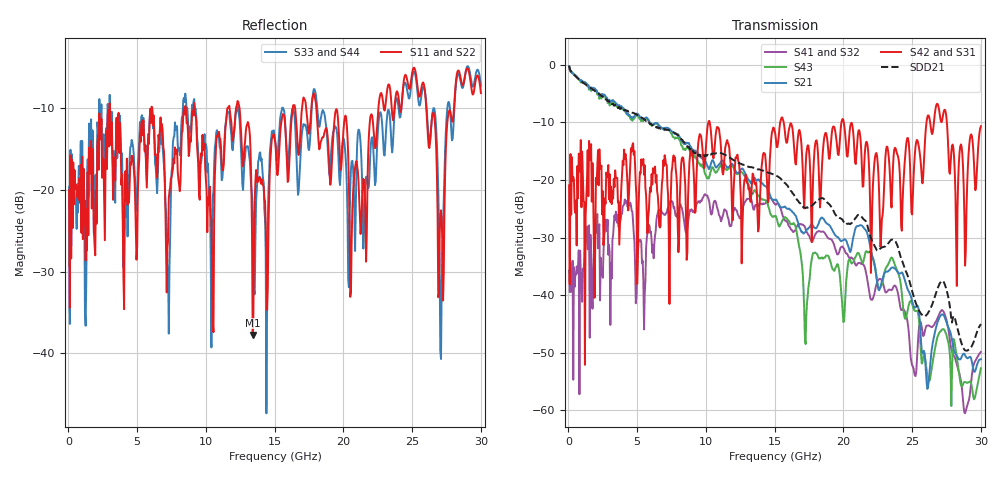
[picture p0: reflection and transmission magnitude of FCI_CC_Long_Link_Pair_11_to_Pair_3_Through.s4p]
! FCI USA LLC
! FCI_CC_Long_Link_Pair_11_to_Pair_3_Through.s4p
! PART DESCRIPTION: FCI Connector Concept 0.70 m Simulated Channel Model
! FREQUENCY RANGE: 50 MHz to 30 GHz in 50 MHz frequency steps
! PORT DEFINITIONS:
! Port  1  ----->  TX  Pin G5(Side B) -- Pin G5(Side A)  RX  <-----  Port  2
! Port  3  ----->  TX  Pin H5(Side B) -- Pin H5(Side A)  RX  <-----  Port  4
! Information
! FCI endeavors to use its reasonable efforts to place accurate and
! up-to-date information in this Touchstone file.  However, this file is
! provided on an as is basis.  FCI GIVES NO WARRANTY, EXPRESS OR
! IMPLIED, WITH RESPECT TO ANY INFORMATION PROVIDED IN THIS FILE,
! INCLUDING BUT NOT LIMITED TO THE IMPLIED WARRANTIES OF
! MERCHANTABILITY, FITNESS FOR A PARTICULAR PURPOSE OR NON-INFRINGEMENT.
! FCI SHALL NOT BE LIABLE FOR ANY DIRECT, SPECIAL, INDIRECT,
! CONSEQUENTIAL, PUNITIVE OR OTHER DAMAGES BASED ON USE OF THIS FILE.
#	Hz	S	RI	R	50
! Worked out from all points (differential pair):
!   600 points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, 50 MHz to 30 GHz, reference 50 ohm
!   strongest paths, dB at 50 MHz, 7.55 GHz, 15.05 GHz, 22.55 GHz, 30 GHz:
!     S42: -20.9, -17.8, -12.0, -19.1, -10.7
!     S31: -20.9, -17.8, -12.0, -19.1, -10.7
!     S21: -0.2, -11.6, -23.4, -39.0, -51.1
!     S43: -0.2, -12.2, -26.3, -38.7, -52.7
!     S41: -35.7, -23.7, -24.3, -37.4, -49.8
!     S32: -35.7, -23.7, -24.3, -37.4, -49.8
!   taken as a pair (ports 1,3 in; 2,4 out), SDD21 dB: -0.2, -11.6, -19.2, -32.3, -45.0
!   lowest |S11| = -37.7 dB at 13.4 GHz (marker M1), VSWR 1.03, Z = 48.7 - j0.154 ohm
!   |S11| at or under -10 dB: 3.012 GHz to 6.046 GHz (3.035 GHz wide, 67 % of centre); 12.44 GHz to 16.32 GHz (3.877 GHz wide, 27 % of centre); 18.03 GHz to 22.55 GHz (4.521 GHz wide, 22.3 % of centre)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
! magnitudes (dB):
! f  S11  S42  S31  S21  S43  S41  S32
! 50 MHz  -20.1  -20.9  -20.9  -0.2  -0.2  -35.7  -35.7
! 12.3 GHz  -9.2  -15.6  -15.6  -18.8  -19.0  -25.8  -25.8
! 13.4 GHz  -37.7  -18.9  -18.9  -20.4  -22.4  -24.5  -24.5
! 25.15 GHz  -5.1  -17.3  -17.3  -42.1  -42.6  -53.4  -53.4
! 27.1 GHz  -22.5  -9.9  -9.9  -43.5  -46.2  -42.7  -42.7
! 27.6 GHz  -11.1  -13.0  -13.0  -45.4  -47.9  -45.4  -45.4
! 30 GHz  -8.2  -10.7  -10.7  -51.1  -52.7  -49.8  -49.8
